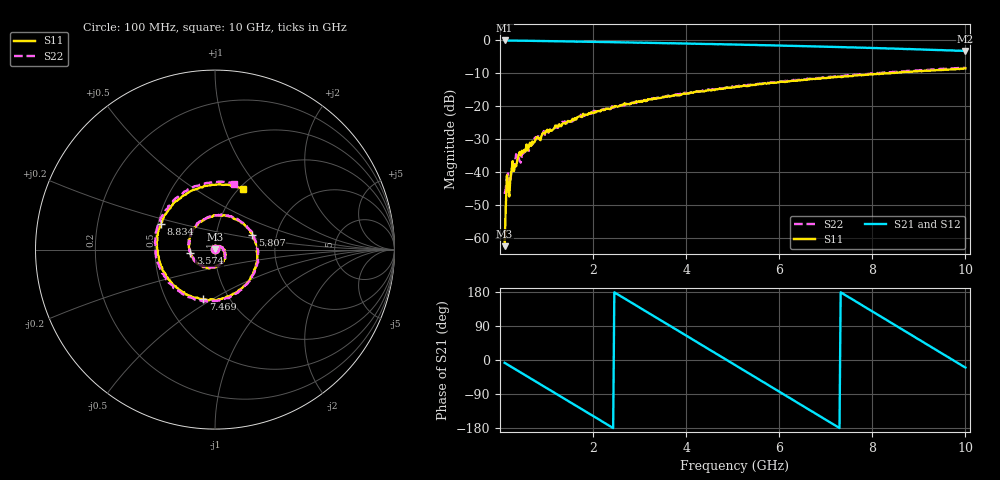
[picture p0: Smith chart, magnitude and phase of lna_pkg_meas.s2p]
!SYNTHETIC example data (scikit-rf model) - not an EM result, not a measurement
!'measured' DUT in its fixture: 12 mm line each side, 1.08 nH, 0.17 pF, noise
! Created with skrf 2.2.0 (http://scikit-rf.org).
# GHz S RI R 50
!freq ReS11 ImS11 ReS21 ImS21 ReS12 ImS12 ReS22 ImS22
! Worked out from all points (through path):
!   400 points, 100 MHz to 10 GHz, reference 50 ohm
!   highest |S21| = -0.02 dB at 100 MHz (marker M1); lowest = -3.2 dB at 10 GHz (marker M2)
!   group delay of S21, straight-line fit = 206 ps
!   lowest |S11| = -62.6 dB at 100 MHz (marker M3), VSWR 1.00, Z = 50 + j0.0711 ohm
!   |S11| at or under -10 dB: start of sweep to 8.348 GHz; 8.379596 GHz to 8.397015 GHz (17.42 MHz wide, 0.208 % of centre)
!   |S22| runs from -46.7 to -8.3 dB; largest |S21 - S12| = 3.5e-16
!   S11 on the Smith chart (normalised r, x): 100 MHz: 1.00, +0.00; 3.574 GHz: 0.76, -0.03; 5.807 GHz: 1.50, +0.26; 7.469 GHz: 0.76, -0.46; 8.834 GHz: 0.52, +0.17; 10 GHz: 1.04, +0.82
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0.1  0.000205 0.000711  0.9893 -0.1286  0.9893 -0.1286  -0.00122 0.00445
0.1496241  0.000577 0.00881  0.9777 -0.1921  0.9777 -0.1921  0.0022 0.0081
0.1992481  -0.00142 0.00397  0.9599 -0.2541  0.9599 -0.2541  -0.000857 0.0062
0.2736842  0.00461 0.0138  0.9309 -0.343  0.9309 -0.343  0.00294 0.0106
0.3481203  0.00565 0.0108  0.892 -0.4309  0.892 -0.4309  0.00776 0.0168
0.4473684  0.00964 0.0151  0.8312 -0.5403  0.8312 -0.5403  0.00701 0.0119
0.5714286  0.0165 0.0202  0.7304 -0.6616  0.7304 -0.6616  0.0191 0.0169
1.042857  0.0387 0.00979  0.218 -0.95  0.218 -0.95  0.0384 0.0081
1.762406  0.0538 -0.0418  -0.618 -0.7309  -0.618 -0.7309  0.0529 -0.0435
2.556391  -0.0147 -0.0988  -0.9246 0.1438  -0.9246 0.1438  -0.0172 -0.0976
3.4  -0.1248 -0.0444  -0.2941 0.8632  -0.2941 0.8632  -0.1278 -0.0414
3.573684  -0.1375 -0.0201  -0.0958 0.903  -0.0958 0.903  -0.1405 -0.01
4.392481  -0.0993 0.1344  0.7202 0.5119  0.7202 0.5119  -0.1 0.1463
5.062406  0.0468 0.1914  0.8375 -0.2101  0.8375 -0.2101  0.0509 0.1921
5.806767  0.2089 0.0832  0.2984 -0.7849  0.2984 -0.7849  0.2132 0.0794
6.228571  0.2353 -0.0415  -0.1485 -0.8138  -0.1485 -0.8138  0.2395 -0.0463
6.7  0.1792 -0.1831  -0.5789 -0.5682  -0.5789 -0.5682  0.1835 -0.1857
7.469173  -0.0641 -0.2761  -0.7649 0.1695  -0.7649 0.1695  -0.0598 -0.2889
8.362406  -0.313 -0.0552  -0.1482 0.7387  -0.1482 0.7387  -0.318 -0.0763
8.833835  -0.3022 0.1438  0.2947 0.6726  0.2947 0.6726  -0.3215 0.1225
9.429323  -0.1158 0.333  0.6592 0.2688  0.6592 0.2688  -0.1579 0.3272
10  0.1564 0.3399  0.6495 -0.2346  0.6495 -0.2346  0.1051 0.3682
